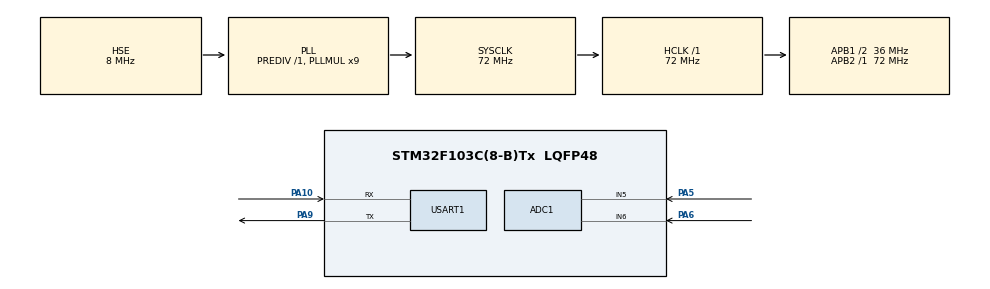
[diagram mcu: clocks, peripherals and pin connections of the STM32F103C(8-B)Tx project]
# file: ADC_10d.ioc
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ADC1.Channel-0\#ChannelRegularConversion=ADC_CHANNEL_5
ADC1.Channel-3\#ChannelRegularConversion=ADC_CHANNEL_6
ADC1.Channel-4\#ChannelRegularConversion=ADC_CHANNEL_TEMPSENSOR
ADC1.ContinuousConvMode=DISABLE
ADC1.NbrOfConversion=3
ADC1.NbrOfConversionFlag=1
ADC1.Rank-0\#ChannelRegularConversion=1
ADC1.Rank-3\#ChannelRegularConversion=2
ADC1.Rank-4\#ChannelRegularConversion=3
ADC1.SamplingTime-0\#ChannelRegularConversion=ADC_SAMPLETIME_41CYCLES_5
ADC1.SamplingTime-3\#ChannelRegularConversion=ADC_SAMPLETIME_55CYCLES_5
ADC1.SamplingTime-4\#ChannelRegularConversion=ADC_SAMPLETIME_239CYCLES_5
ADC1.master=1
Mcu.Family=STM32F1
Mcu.Name=STM32F103C(8-B)Tx
Mcu.Package=LQFP48
NVIC.PriorityGroup=NVIC_PRIORITYGROUP_4
PA10.Mode=Asynchronous
PA10.Signal=USART1_RX
PA13.Mode=Serial_Wire
PA13.Signal=SYS_JTMS-SWDIO
PA14.Mode=Serial_Wire
PA14.Signal=SYS_JTCK-SWCLK
PA5.Signal=ADCx_IN5
PA6.Signal=ADCx_IN6
PA9.Mode=Asynchronous
PA9.Signal=USART1_TX
PD0-OSC_IN.Mode=HSE-External-Oscillator
PD0-OSC_IN.Signal=RCC_OSC_IN
PD1-OSC_OUT.Mode=HSE-External-Oscillator
PD1-OSC_OUT.Signal=RCC_OSC_OUT
ProjectManager.HeapSize=0x200
ProjectManager.StackSize=0x400
ProjectManager.TargetToolchain=MDK-ARM V5.32
RCC.ADCPresc=RCC_ADCPCLK2_DIV6
RCC.AHBFreq_Value=72000000
RCC.APB1CLKDivider=RCC_HCLK_DIV2
RCC.APB1Freq_Value=36000000
RCC.APB1TimFreq_Value=72000000
RCC.APB2Freq_Value=72000000
RCC.APB2TimFreq_Value=72000000
RCC.HCLKFreq_Value=72000000
RCC.PLLMUL=RCC_PLL_MUL9
RCC.PLLSourceVirtual=RCC_PLLSOURCE_HSE
RCC.SYSCLKFreq_VALUE=72000000
RCC.SYSCLKSource=RCC_SYSCLKSOURCE_PLLCLK
RCC.USBFreq_Value=72000000
SH.ADCx_IN5.0=ADC1_IN5,IN5
SH.ADCx_IN6.0=ADC1_IN6,IN6
USART1.VirtualMode=VM_ASYNC
VP_ADC1_TempSens_Input.Mode=IN-TempSens
board=custom

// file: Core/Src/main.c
/* USER CODE BEGIN Header */
/**
  ******************************************************************************
  * @file           : main.c
  * @brief          : Main program body
  ******************************************************************************
  * @attention
  *
  * Copyright (c) 2022 STMicroelectronics.
  * All rights reserved.
  *
  * This software is licensed under terms that can be found in the LICENSE file
  * in the root directory of this software component.
  * If no LICENSE file comes with this software, it is provided AS-IS.
  *
  ******************************************************************************
  */
/* USER CODE END Header */
#include "main.h"

/* USER CODE BEGIN Includes */
#include <stdio.h>
/* USER CODE END Includes */

 ADC_HandleTypeDef hadc1;

UART_HandleTypeDef huart1;

void SystemClock_Config(void);
static void MX_GPIO_Init(void);
static void MX_ADC1_Init(void);
static void MX_USART1_UART_Init(void);

/* USER CODE BEGIN 0 */
uint32_t adc_value[3];
float v[3];
float temp;
uint8_t data_send[50];
/* USER CODE END 0 */

int main(void)
{

  /* MCU Configuration--------------------------------------------------------*/

  /* Reset of all peripherals, Initializes the Flash interface and the Systick. */
  HAL_Init();

  /* Configure the system clock */
  SystemClock_Config();

  /* Initialize all configured peripherals */
  MX_GPIO_Init();
  MX_ADC1_Init();
  MX_USART1_UART_Init();

  /* Infinite loop */
  while (1)
  {

    /* USER CODE BEGIN 3 */
		HAL_ADC_Start(&hadc1);
		for(int i = 0; i < 68; i++)
			__asm("NOP");
		adc_value[0] = HAL_ADC_GetValue(&hadc1);

		for(int i = 0; i < 81; i++)
			__asm("NOP");
		adc_value[1] = HAL_ADC_GetValue(&hadc1);

		for(int i = 0; i < 303; i++)
			__asm("NOP");
		adc_value[2] = HAL_ADC_GetValue(&hadc1);

		v[0] = adc_value[0]*3.3/4096;
		v[1] = adc_value[1]*3.3/4096;
		v[2] = adc_value[2]*3.3/4096;
		temp = ((1.43 - v[2])/(4.3/1000)) + 25;
		sprintf(&data_send[0], "V0 = %4.2f, V1 = %4.2f, temp = %4.2f\r\n", v[0], v[1], temp);
		HAL_UART_Transmit(&huart1, &data_send[0], sizeof(data_send), 10);
		HAL_Delay(1000);

  }
  /* USER CODE END 3 */
}

void SystemClock_Config(void)
{
  RCC_OscInitTypeDef RCC_OscInitStruct = {0};
  RCC_ClkInitTypeDef RCC_ClkInitStruct = {0};
  RCC_PeriphCLKInitTypeDef PeriphClkInit = {0};

  /** Initializes the RCC Oscillators according to the specified parameters
  * in the RCC_OscInitTypeDef structure.
  */
  RCC_OscInitStruct.OscillatorType = RCC_OSCILLATORTYPE_HSE;
  RCC_OscInitStruct.HSEState = RCC_HSE_ON;
  RCC_OscInitStruct.HSEPredivValue = RCC_HSE_PREDIV_DIV1;
  RCC_OscInitStruct.HSIState = RCC_HSI_ON;
  RCC_OscInitStruct.PLL.PLLState = RCC_PLL_ON;
  RCC_OscInitStruct.PLL.PLLSource = RCC_PLLSOURCE_HSE;
  RCC_OscInitStruct.PLL.PLLMUL = RCC_PLL_MUL9;
  if (HAL_RCC_OscConfig(&RCC_OscInitStruct) != HAL_OK)
  {
    Error_Handler();
  }

  /** Initializes the CPU, AHB and APB buses clocks
  */
  RCC_ClkInitStruct.ClockType = RCC_CLOCKTYPE_HCLK|RCC_CLOCKTYPE_SYSCLK
                              |RCC_CLOCKTYPE_PCLK1|RCC_CLOCKTYPE_PCLK2;
  RCC_ClkInitStruct.SYSCLKSource = RCC_SYSCLKSOURCE_PLLCLK;
  RCC_ClkInitStruct.AHBCLKDivider = RCC_SYSCLK_DIV1;
  RCC_ClkInitStruct.APB1CLKDivider = RCC_HCLK_DIV2;
  RCC_ClkInitStruct.APB2CLKDivider = RCC_HCLK_DIV1;

  if (HAL_RCC_ClockConfig(&RCC_ClkInitStruct, FLASH_LATENCY_2) != HAL_OK)
  {
    Error_Handler();
  }
  PeriphClkInit.PeriphClockSelection = RCC_PERIPHCLK_ADC;
  PeriphClkInit.AdcClockSelection = RCC_ADCPCLK2_DIV6;
  if (HAL_RCCEx_PeriphCLKConfig(&PeriphClkInit) != HAL_OK)
  {
    Error_Handler();
  }
}

static void MX_ADC1_Init(void)
{

  ADC_ChannelConfTypeDef sConfig = {0};

  /** Common config
  */
  hadc1.Instance = ADC1;
  hadc1.Init.ScanConvMode = ADC_SCAN_ENABLE;
  hadc1.Init.ContinuousConvMode = DISABLE;
  hadc1.Init.DiscontinuousConvMode = DISABLE;
  hadc1.Init.ExternalTrigConv = ADC_SOFTWARE_START;
  hadc1.Init.DataAlign = ADC_DATAALIGN_RIGHT;
  hadc1.Init.NbrOfConversion = 3;
  if (HAL_ADC_Init(&hadc1) != HAL_OK)
  {
    Error_Handler();
  }

  /** Configure Regular Channel
  */
  sConfig.Channel = ADC_CHANNEL_5;
  sConfig.Rank = ADC_REGULAR_RANK_1;
  sConfig.SamplingTime = ADC_SAMPLETIME_41CYCLES_5;
  if (HAL_ADC_ConfigChannel(&hadc1, &sConfig) != HAL_OK)
  {
    Error_Handler();
  }

  /** Configure Regular Channel
  */
  sConfig.Channel = ADC_CHANNEL_6;
  sConfig.Rank = ADC_REGULAR_RANK_2;
  sConfig.SamplingTime = ADC_SAMPLETIME_55CYCLES_5;
  if (HAL_ADC_ConfigChannel(&hadc1, &sConfig) != HAL_OK)
  {
    Error_Handler();
  }

  /** Configure Regular Channel
  */
  sConfig.Channel = ADC_CHANNEL_TEMPSENSOR;
  sConfig.Rank = ADC_REGULAR_RANK_3;
  sConfig.SamplingTime = ADC_SAMPLETIME_239CYCLES_5;
  if (HAL_ADC_ConfigChannel(&hadc1, &sConfig) != HAL_OK)
  {
    Error_Handler();
  }

}

static void MX_USART1_UART_Init(void)
{

  huart1.Instance = USART1;
  huart1.Init.BaudRate = 115200;
  huart1.Init.WordLength = UART_WORDLENGTH_8B;
  huart1.Init.StopBits = UART_STOPBITS_1;
  huart1.Init.Parity = UART_PARITY_NONE;
  huart1.Init.Mode = UART_MODE_TX_RX;
  huart1.Init.HwFlowCtl = UART_HWCONTROL_NONE;
  huart1.Init.OverSampling = UART_OVERSAMPLING_16;
  if (HAL_UART_Init(&huart1) != HAL_OK)
  {
    Error_Handler();
  }

}

static void MX_GPIO_Init(void)
{

  /* GPIO Ports Clock Enable */
  __HAL_RCC_GPIOD_CLK_ENABLE();
  __HAL_RCC_GPIOA_CLK_ENABLE();

}

void Error_Handler(void)
{
  __disable_irq();
  while (1)
  {
  }
}
